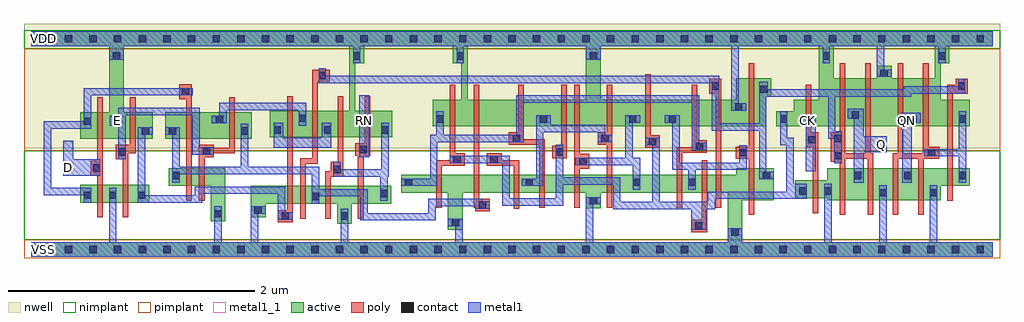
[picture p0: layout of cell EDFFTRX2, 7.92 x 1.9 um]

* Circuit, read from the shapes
.subckt EDFFTRX2 CK D E Q QN RN VDD VSS
M1 VSS D n1 VSS nfet w=0.145u l=0.045u
M2 n2 E VSS VSS nfet w=0.145u l=0.045u
M3 n3 n1 n4 VSS nfet w=0.145u l=0.045u
M4 VSS E n3 VSS nfet w=0.145u l=0.045u
M5 n5 n2 VSS VSS nfet w=0.145u l=0.045u
M6 n4 n6 n5 VSS nfet w=0.145u l=0.045u
M7 VSS n7 n4 VSS nfet w=0.145u l=0.045u
M8 n7 RN VSS VSS nfet w=0.145u l=0.045u
M9 VSS n8 n9 VSS nfet w=0.145u l=0.045u
M10 n10 n4 VSS VSS nfet w=0.145u l=0.045u
M11 n11 n8 n10 VSS nfet w=0.145u l=0.045u
M12 n12 n9 n11 VSS nfet w=0.145u l=0.045u
M13 VSS n13 n12 VSS nfet w=0.145u l=0.045u
M14 n13 n11 VSS VSS nfet w=0.145u l=0.045u
M15 n14 n9 n13 VSS nfet w=0.145u l=0.045u
M16 n15 n8 n14 VSS nfet w=0.145u l=0.045u
M17 VSS n6 n15 VSS nfet w=0.145u l=0.045u
M18 n6 n14 VSS VSS nfet w=0.26u l=0.045u
M19 VSS CK n8 VSS nfet w=0.145u l=0.045u
M20 Q n6 VSS VSS nfet w=0.26u l=0.045u m=2
M21 QN n16 VSS VSS nfet w=0.26u l=0.045u m=2
M22 n16 n6 VSS VSS nfet w=0.145u l=0.045u
M23 VDD D n1 VDD pfet w=0.215u l=0.045u
M24 n2 E VDD VDD pfet w=0.215u l=0.045u
M25 n17 n1 n4 VDD pfet w=0.215u l=0.045u
M26 n4 E n17 VDD pfet w=0.215u l=0.045u
M27 n17 n2 n18 VDD pfet w=0.215u l=0.045u
M28 n18 n6 n17 VDD pfet w=0.215u l=0.045u
M29 VDD n7 n18 VDD pfet w=0.215u l=0.045u
M30 n7 RN VDD VDD pfet w=0.215u l=0.045u
M31 VDD n8 n9 VDD pfet w=0.215u l=0.045u
M32 n19 n4 VDD VDD pfet w=0.215u l=0.045u
M33 n11 n9 n19 VDD pfet w=0.215u l=0.045u
M34 n20 n8 n11 VDD pfet w=0.215u l=0.045u
M35 VDD n13 n20 VDD pfet w=0.215u l=0.045u
M36 n13 n11 VDD VDD pfet w=0.215u l=0.045u
M37 n14 n8 n13 VDD pfet w=0.215u l=0.045u
M38 n21 n9 n14 VDD pfet w=0.215u l=0.045u
M39 VDD n6 n21 VDD pfet w=0.215u l=0.045u
M40 n6 n14 VDD VDD pfet w=0.39u l=0.045u
M41 VDD CK n8 VDD pfet w=0.215u l=0.045u
M42 Q n6 VDD VDD pfet w=0.39u l=0.045u m=2
M43 QN n16 VDD VDD pfet w=0.39u l=0.045u m=2
M44 n16 n6 VDD VDD pfet w=0.215u l=0.045u
.ends

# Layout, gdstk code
import gdstk
lib = gdstk.Library(unit=1e-6, precision=5e-10)
def R(c, l, rs):  # rectangles x0, y0, x1, y1
    for r in rs: c.add(gdstk.rectangle(r[:2], r[2:], *l))
def A(c, l, x, y, w, h, nx, ny, dx, dy):  # array of equal rectangles
    R(c, l, [(x+i*dx, y+j*dy, x+i*dx+w, y+j*dy+h) for i in range(nx) for j in range(ny)])
def P(c, l, *ps):  # polygons
    for p in ps: c.add(gdstk.Polygon(p, *l))
active = (1, 0)
nwell = (2, 0)
poly = (3, 0)
nimplant = (4, 0)
pimplant = (5, 0)
contact = (6, 0)
metal1 = (7, 0)
metal1_1 = (7, 1)

edfftrx2 = lib.new_cell('EDFFTRX2')
R(edfftrx2, active, [(0.395,0.38,0.955,0.525), (1.085,0.9,1.79,1.115)])
P(edfftrx2, active, [(0,1.77),(7.8,1.77),(7.8,1.65),(7.45,1.65),(7.45,1.51),(7.38,1.51),(7.38,1.215),(7.615,1.215),(7.615,1),(6.045,1),(6.045,1.12),(6.185,1.12),(6.185,1.215),(6.39,1.215),(6.39,1.65),(6.51,1.65),(6.51,1.39),(6.86,1.39),(6.86,1.49),(6.98,1.49),(6.98,1.39),(7.33,1.39),(7.33,1.65),(4.62,1.65),(4.62,1.215),(5.72,1.215),(5.72,1.39),(6.005,1.39),(6.005,1.24),(5.965,1.24),(5.965,1),(3.255,1),(3.255,1.215),(3.49,1.215),(3.49,1.51),(3.42,1.51),(3.42,1.65),(3.54,1.65),(3.54,1.215),(4.5,1.215),(4.5,1.65),(2.7,1.65),(2.7,1.51),(2.63,1.51),(2.63,1.125),(2.93,1.125),(2.93,0.91),(1.935,0.91),(1.935,1.125),(2.58,1.125),(2.58,1.65),(0.75,1.65),(0.75,1.115),(0.985,1.115),(0.985,0.9),(0.395,0.9),(0.395,1.115),(0.63,1.115),(0.63,1.65),(0,1.65)],
  [(5.72,0.66),(6.025,0.66),(6.025,0.4),(5.77,0.4),(5.77,0.06),(7.8,0.06),(7.8,-0.06),(0,-0.06),(0,0.06),(5.65,0.06),(5.65,0.46),(4.62,0.46),(4.62,0.335),(4.5,0.335),(4.5,0.46),(3.5,0.46),(3.5,0.16),(3.38,0.16),(3.38,0.46),(3,0.46),(3,0.605),(5.72,0.605)],
  [(1.115,0.66),(1.575,0.66),(1.575,0.23),(1.455,0.23),(1.455,0.515),(1.115,0.515)],
  [(1.78,0.515),(2.92,0.515),(2.92,0.37),(2.6,0.37),(2.6,0.21),(2.48,0.21),(2.48,0.37),(1.9,0.37),(1.9,0.26),(1.78,0.26)],
  [(6.46,0.66),(7.615,0.66),(7.615,0.515),(7.38,0.515),(7.38,0.4),(6.46,0.4),(6.46,0.415),(6.2,0.415),(6.2,0.56),(6.46,0.56)])
R(edfftrx2, nwell, [(-0.06,0.82,7.86,1.83)])
P(edfftrx2, poly, [(0.535,1.235),(0.58,1.235),(0.58,0.26),(0.535,0.26),(0.535,0.6),(0.48,0.6),(0.48,0.72),(0.535,0.72)],
  [(1.2,1.34),(1.3,1.34),(1.3,0.395),(1.255,0.395),(1.255,1.22),(1.2,1.22)],
  [(2.28,1.46),(2.42,1.46),(2.42,1.36),(2.325,1.36),(2.325,0.695),(2.225,0.695),(2.225,0.25),(2.18,0.25),(2.18,0.74),(2.28,0.74)],
  [(0.8,1.235),(0.845,1.235),(0.845,0.78),(0.785,0.78),(0.785,0.26),(0.74,0.26),(0.74,0.73),(0.685,0.73),(0.685,0.85),(0.8,0.85)],
  [(1.36,0.85),(1.48,0.85),(1.48,0.825),(1.605,0.825),(1.605,1.235),(1.65,1.235),(1.65,0.78),(1.48,0.78),(1.48,0.75),(1.405,0.75),(1.405,0.395),(1.36,0.395)],
  [(2.075,1.245),(2.12,1.245),(2.12,0.22),(2,0.22),(2,0.32),(2.075,0.32)],
  [(2.485,1.245),(2.53,1.245),(2.53,0.59),(2.43,0.59),(2.43,0.25),(2.385,0.25),(2.385,0.635),(2.43,0.635),(2.43,0.71),(2.485,0.71)],
  [(2.705,1.245),(2.75,1.245),(2.75,0.76),(2.695,0.76),(2.695,0.25),(2.65,0.25),(2.65,0.76),(2.63,0.76),(2.63,0.86),(2.705,0.86)],
  [(3.395,1.335),(3.44,1.335),(3.44,0.78),(3.515,0.78),(3.515,0.68),(3.33,0.68),(3.33,0.34),(3.285,0.34),(3.285,0.725),(3.395,0.725)],
  [(3.59,1.335),(3.635,1.335),(3.635,0.41),(3.72,0.41),(3.72,0.31),(3.6,0.31),(3.6,0.34),(3.59,0.34)],
  [(3.95,1.335),(3.995,1.335),(3.995,0.895),(4.165,0.895),(4.165,0.34),(4.12,0.34),(4.12,0.85),(3.875,0.85),(3.875,0.95),(3.95,0.95)],
  [(4.3,1.335),(4.345,1.335),(4.345,0.74),(4.225,0.74),(4.225,0.84),(4.3,0.84)],
  [(4.405,1.335),(4.45,1.335),(4.45,0.775),(4.525,0.775),(4.525,0.655),(4.45,0.655),(4.45,0.34),(4.405,0.34)],
  [(5.5,1.385),(5.6,1.385),(5.6,0.34),(5.555,0.34),(5.555,1.265),(5.5,1.265)],
  [(5.82,1.51),(5.865,1.51),(5.865,0.28),(5.82,0.28),(5.82,0.735),(5.715,0.735),(5.715,0.835),(5.82,0.835)],
  [(4.67,1.335),(4.715,1.335),(4.715,0.34),(4.67,0.34),(4.67,0.85),(4.595,0.85),(4.595,0.95),(4.67,0.95)],
  [(4.98,1.42),(5.025,1.42),(5.025,0.925),(5.1,0.925),(5.1,0.825),(4.98,0.825)],
  [(5.36,1.335),(5.405,1.335),(5.405,0.885),(5.48,0.885),(5.48,0.785),(5.28,0.785),(5.28,0.34),(5.235,0.34),(5.235,0.83),(5.36,0.83)],
  [(6.56,1.51),(6.605,1.51),(6.605,0.78),(6.765,0.78),(6.765,1.51),(6.81,1.51),(6.81,0.78),(6.83,0.78),(6.83,0.28),(6.785,0.28),(6.785,0.735),(6.605,0.735),(6.605,0.28),(6.56,0.28),(6.56,0.71),(6.485,0.71),(6.485,0.95),(6.56,0.95)],
  [(6.285,1.335),(6.33,1.335),(6.33,0.95),(6.385,0.95),(6.385,0.295),(6.34,0.295),(6.34,0.83),(6.285,0.83)],
  [(7.03,1.51),(7.075,1.51),(7.075,0.78),(7.235,0.78),(7.235,1.51),(7.28,1.51),(7.28,0.835),(7.365,0.835),(7.365,0.735),(7.24,0.735),(7.24,0.28),(7.195,0.28),(7.195,0.735),(7.035,0.735),(7.035,0.28),(6.99,0.28),(6.99,0.78),(7.03,0.78)],
  [(7.5,1.385),(7.6,1.385),(7.6,1.265),(7.475,1.265),(7.475,0.395),(7.43,0.395),(7.43,1.335),(7.5,1.335)],
  [(3.695,0.78),(3.815,0.78),(3.815,0.725),(3.96,0.725),(3.96,0.33),(3.915,0.33),(3.915,0.68),(3.695,0.68)],
  [(5.44,0.725),(5.485,0.725),(5.485,0.14),(5.355,0.14),(5.355,0.24),(5.44,0.24)])
R(edfftrx2, nimplant, [(-0.06,0.08,7.86,0.8), (-0.06,1.63,7.86,1.78)])
R(edfftrx2, pimplant, [(-0.06,-0.07,7.86,0.08), (-0.06,0.8,7.86,1.63)])
A(edfftrx2, contact, 0.07, -0.03, 0.06, 0.06, 39, 2, 0.2, 1.71)
R(edfftrx2, contact, [(5.68,0.11,5.74,0.17), (5.385,0.16,5.445,0.22), (3.41,0.19,3.47,0.25), (2.03,0.24,2.09,0.3), (2.51,0.24,2.57,0.3), (1.485,0.26,1.545,0.32), (1.81,0.29,1.87,0.35), (3.63,0.33,3.69,0.39), (4.53,0.365,4.59,0.425), (2.275,0.4,2.335,0.46), (0.425,0.41,0.485,0.47), (0.63,0.41,0.69,0.47), (0.865,0.41,0.925,0.47), (2.83,0.425,2.89,0.485), (6.88,0.43,6.94,0.49), (7.29,0.43,7.35,0.49), (6.23,0.445,6.29,0.505), (6.435,0.445,6.495,0.505), (3.03,0.515,3.09,0.575), (4.01,0.515,4.07,0.575), (4.88,0.515,4.94,0.575), (5.33,0.515,5.39,0.575), (1.145,0.57,1.205,0.63), (5.935,0.57,5.995,0.63), (6.675,0.57,6.735,0.63), (7.085,0.57,7.145,0.63), (7.525,0.57,7.585,0.63), (2.45,0.62,2.51,0.68), (0.5,0.63,0.56,0.69), (4.445,0.685,4.505,0.745), (3.425,0.7,3.485,0.76), (3.725,0.7,3.785,0.76), (6.515,0.73,6.575,0.79), (5.745,0.755,5.805,0.815), (7.275,0.755,7.335,0.815), (0.705,0.76,0.765,0.82), (4.255,0.76,4.315,0.82), (1.39,0.77,1.45,0.83), (2.66,0.78,2.72,0.84), (5.39,0.805,5.45,0.865), (5.01,0.845,5.07,0.905), (6.305,0.86,6.365,0.92), (3.905,0.87,3.965,0.93), (4.625,0.87,4.685,0.93), (6.515,0.87,6.575,0.93), (0.895,0.93,0.955,0.99), (1.115,0.93,1.175,0.99), (1.7,0.93,1.76,0.99), (1.965,0.94,2.025,1), (2.375,0.94,2.435,1), (2.84,0.94,2.9,1), (0.425,1.01,0.485,1.07), (1.495,1.025,1.555,1.085), (3.285,1.03,3.345,1.09), (4.125,1.03,4.185,1.09), (4.85,1.03,4.91,1.09), (5.17,1.03,5.23,1.09), (6.075,1.03,6.135,1.09), (7.125,1.03,7.185,1.09), (7.525,1.03,7.585,1.09), (2.17,1.035,2.23,1.095), (6.655,1.06,6.715,1.12), (5.71,1.125,5.77,1.185), (1.22,1.25,1.28,1.31), (5.915,1.27,5.975,1.33), (5.52,1.295,5.58,1.355), (7.52,1.295,7.58,1.355), (2.33,1.38,2.39,1.44), (6.89,1.4,6.95,1.46), (0.66,1.54,0.72,1.6), (2.61,1.54,2.67,1.6), (3.45,1.54,3.51,1.6), (4.53,1.54,4.59,1.6), (6.42,1.54,6.48,1.6), (7.36,1.54,7.42,1.6)])
R(edfftrx2, metal1, [(2.66,0.75,2.74,1.25)])
P(edfftrx2, metal1, [(0,1.77),(7.8,1.77),(7.8,1.65),(7.42,1.65),(7.42,1.51),(7.36,1.51),(7.36,1.65),(6.92,1.65),(6.92,1.46),(6.98,1.46),(6.98,1.4),(6.86,1.4),(6.86,1.65),(6.48,1.65),(6.48,1.51),(6.42,1.51),(6.42,1.65),(5.74,1.65),(5.74,1.185),(5.8,1.185),(5.8,1.125),(5.68,1.125),(5.68,1.65),(4.62,1.65),(4.62,1.54),(4.5,1.54),(4.5,1.65),(3.51,1.65),(3.51,1.51),(3.45,1.51),(3.45,1.65),(2.67,1.65),(2.67,1.51),(2.61,1.51),(2.61,1.65),(0.75,1.65),(0.75,1.54),(0.63,1.54),(0.63,1.65),(0,1.65)],
  [(2.33,1.47),(2.39,1.47),(2.39,1.41),(5.58,1.41),(5.58,1.025),(5.905,1.025),(5.905,1.36),(5.975,1.36),(5.975,1.3),(7.08,1.3),(7.08,1.325),(7.52,1.325),(7.52,1.385),(7.58,1.385),(7.58,1.265),(7.14,1.265),(7.14,1.24),(6.525,1.24),(6.525,0.96),(6.575,0.96),(6.575,0.7),(6.515,0.7),(6.515,0.9),(6.465,0.9),(6.465,1.24),(5.965,1.24),(5.965,0.63),(6.025,0.63),(6.025,0.57),(5.905,0.57),(5.905,0.965),(5.52,0.965),(5.52,1.35),(2.33,1.35)],
  [(0.425,1.31),(1.31,1.31),(1.31,1.25),(0.485,1.25),(0.485,0.98),(0.16,0.98),(0.16,0.5),(0.485,0.5),(0.485,0.38),(0.425,0.38),(0.425,0.44),(0.1,0.44),(0.1,1.04),(0.425,1.04)],
  [(1.525,1.19),(2.23,1.19),(2.23,1.005),(2.17,1.005),(2.17,1.13),(1.585,1.13),(1.585,1.025),(1.465,1.025),(1.465,1.085),(1.525,1.085)],
  [(0.705,1.15),(1.365,1.15),(1.365,0.83),(1.48,0.83),(1.48,0.77),(1.305,0.77),(1.305,1.09),(0.765,1.09),(0.765,0.73),(0.705,0.73),(0.705,1.005),(0.635,1.005),(0.635,1.085),(0.705,1.085)],
  [(0.26,0.88),(0.34,0.88),(0.34,0.73),(0.56,0.73),(0.56,0.6),(0.26,0.6)],
  [(0.865,0.99),(0.985,0.99),(0.985,0.93),(0.925,0.93),(0.925,0.44),(1.325,0.44),(1.325,0.51),(2.06,0.51),(2.06,0.3),(2.12,0.3),(2.12,0.24),(2,0.24),(2,0.45),(1.385,0.45),(1.385,0.38),(0.865,0.38)],
  [(1.085,0.99),(1.205,0.99),(1.205,0.67),(1.7,0.67),(1.7,1.02),(1.76,1.02),(1.76,0.67),(2.335,0.67),(2.335,0.49),(2.73,0.49),(2.73,0.295),(3.22,0.295),(3.22,0.41),(3.66,0.41),(3.66,0.39),(3.72,0.39),(3.72,0.33),(3.6,0.33),(3.6,0.35),(3.28,0.35),(3.28,0.235),(2.67,0.235),(2.67,0.43),(2.335,0.43),(2.335,0.37),(2.275,0.37),(2.275,0.61),(1.205,0.61),(1.205,0.54),(1.145,0.54),(1.145,0.93),(1.085,0.93)],
  [(0.63,0.5),(0.69,0.5),(0.69,0.06),(1.485,0.06),(1.485,0.35),(1.545,0.35),(1.545,0.06),(1.78,0.06),(1.78,0.35),(1.9,0.35),(1.9,0.29),(1.84,0.29),(1.84,0.06),(2.51,0.06),(2.51,0.33),(2.57,0.33),(2.57,0.06),(3.44,0.06),(3.44,0.19),(3.38,0.19),(3.38,0.25),(3.5,0.25),(3.5,0.06),(4.5,0.06),(4.5,0.425),(4.62,0.425),(4.62,0.365),(4.56,0.365),(4.56,0.06),(5.65,0.06),(5.65,0.17),(5.77,0.17),(5.77,0.06),(6.435,0.06),(6.435,0.535),(6.495,0.535),(6.495,0.06),(6.88,0.06),(6.88,0.52),(6.94,0.52),(6.94,0.06),(7.29,0.06),(7.29,0.52),(7.35,0.52),(7.35,0.06),(7.8,0.06),(7.8,-0.06),(0,-0.06),(0,0.06),(0.63,0.06)],
  [(1.965,1.03),(2.045,1.03),(2.045,0.905),(2.355,0.905),(2.355,1.03),(2.435,1.03),(2.435,0.825),(1.965,0.825)],
  [(3.935,1.25),(5.42,1.25),(5.42,0.865),(5.48,0.865),(5.48,0.805),(5.36,0.805),(5.36,1.19),(3.995,1.19),(3.995,0.87),(3.295,0.87),(3.295,0.515),(3,0.515),(3,0.575),(3.235,0.575),(3.235,0.93),(3.285,0.93),(3.285,1.12),(3.345,1.12),(3.345,0.93),(3.935,0.93)],
  [(2.45,0.71),(2.51,0.71),(2.51,0.65),(2.84,0.65),(2.84,1.03),(2.9,1.03),(2.9,0.59),(2.89,0.59),(2.89,0.395),(2.83,0.395),(2.83,0.59),(2.45,0.59)],
  [(4.095,1.09),(4.215,1.09),(4.215,1.01),(4.655,1.01),(4.655,0.93),(4.715,0.93),(4.715,0.87),(4.595,0.87),(4.595,0.95),(4.155,0.95),(4.155,0.515),(3.98,0.515),(3.98,0.575),(4.095,0.575)],
  [(4.82,1.09),(4.94,1.09),(4.94,1.03),(4.88,1.03),(4.88,0.745),(4.94,0.745),(4.94,0.485),(4.88,0.485),(4.88,0.685),(4.415,0.685),(4.415,0.745),(4.82,0.745)],
  [(5.14,1.09),(5.26,1.09),(5.26,0.705),(5.745,0.705),(5.745,0.845),(5.805,0.845),(5.805,0.645),(5.39,0.645),(5.39,0.485),(5.33,0.485),(5.33,0.645),(5.2,0.645),(5.2,1.03),(5.14,1.03)],
  [(6.075,1.12),(6.135,1.12),(6.135,0.905),(6.185,0.905),(6.185,0.535),(6.29,0.535),(6.29,0.41),(5.55,0.41),(5.55,0.325),(5.475,0.325),(5.475,0.16),(5.355,0.16),(5.355,0.325),(4.72,0.325),(4.72,0.525),(4.315,0.525),(4.315,0.355),(3.82,0.355),(3.82,0.7),(3.395,0.7),(3.395,0.76),(3.88,0.76),(3.88,0.415),(4.255,0.415),(4.255,0.85),(4.315,0.85),(4.315,0.585),(4.78,0.585),(4.78,0.385),(5.04,0.385),(5.04,0.845),(4.98,0.845),(4.98,0.905),(5.1,0.905),(5.1,0.385),(5.49,0.385),(5.49,0.47),(6.125,0.47),(6.125,0.845),(6.075,0.845)],
  [(6.235,1.085),(6.365,1.085),(6.365,0.635),(6.285,0.635),(6.285,1.005),(6.235,1.005)],
  [(7.525,1.12),(7.585,1.12),(7.585,0.54),(7.525,0.54),(7.525,0.755),(7.245,0.755),(7.245,0.815),(7.525,0.815)],
  [(6.625,1.14),(6.755,1.14),(6.755,0.92),(6.94,0.92),(6.94,0.79),(6.755,0.79),(6.755,0.54),(6.675,0.54),(6.675,1.06),(6.625,1.06)],
  [(7.06,1.11),(7.215,1.11),(7.215,1.03),(7.145,1.03),(7.145,0.54),(7.065,0.54),(7.065,0.98),(7.06,0.98)])
R(edfftrx2, metal1_1, [(0.06,-0.04,0.14,0.04), (0.26,0.625,0.34,0.705), (6.86,0.815,6.94,0.895), (0.66,1.005,0.74,1.085), (2.66,1.005,2.74,1.085), (6.26,1.005,6.34,1.085), (7.06,1.005,7.14,1.085), (0.06,1.67,0.14,1.75)])
edfftrx2.add(gdstk.Label('QN', (7.1,1.045), layer=7, texttype=1))
edfftrx2.add(gdstk.Label('Q', (6.9,0.855), layer=7, texttype=1))
edfftrx2.add(gdstk.Label('CK', (6.3,1.045), layer=7, texttype=1))
edfftrx2.add(gdstk.Label('RN', (2.7,1.045), layer=7, texttype=1))
edfftrx2.add(gdstk.Label('E', (0.7,1.045), layer=7, texttype=1))
edfftrx2.add(gdstk.Label('D', (0.3,0.665), layer=7, texttype=1))
edfftrx2.add(gdstk.Label('VDD', (0.1,1.71), layer=7, texttype=1))
edfftrx2.add(gdstk.Label('VSS', (0.1,0), layer=7, texttype=1))
edfftrx2.add(gdstk.Label('EDFFTRX2', (0,0), layer=63, texttype=0))

lib.write_gds('EDFFTRX2.gds')
